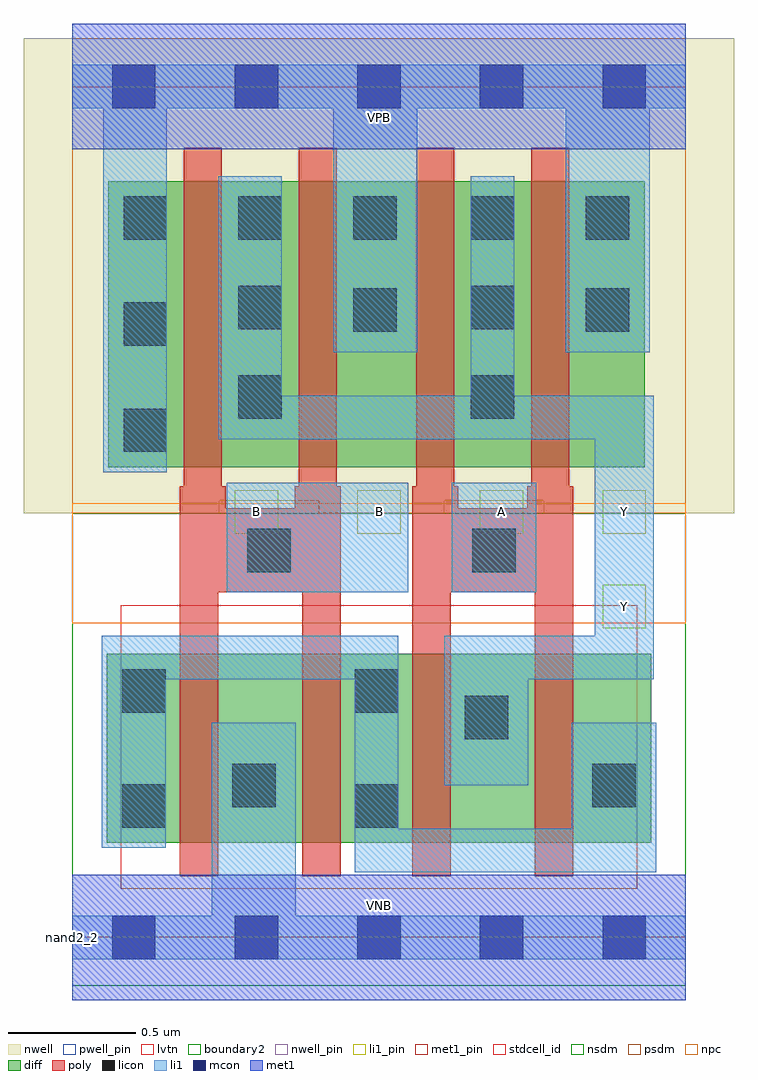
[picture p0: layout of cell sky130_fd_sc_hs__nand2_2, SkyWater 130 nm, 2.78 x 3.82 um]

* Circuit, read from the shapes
.subckt sky130_fd_sc_hs__nand2_2 A B VGND VNB VPB VPWR Y
XM1 VGND B n1 VNB sky130_fd_pr__nfet_01v8_lvt w=0.74 l=0.15 m=2
XM2 Y A n1 VNB sky130_fd_pr__nfet_01v8_lvt w=0.74 l=0.15 m=2
XM3 Y B VPWR VPB sky130_fd_pr__pfet_01v8 w=1.12 l=0.15 m=2
XM4 Y A VPWR VPB sky130_fd_pr__pfet_01v8 w=1.12 l=0.15 m=2
.ends

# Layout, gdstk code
import gdstk
lib = gdstk.Library(unit=1e-6, precision=1e-09)
def R(c, l, rs):  # rectangles x0, y0, x1, y1
    for r in rs: c.add(gdstk.rectangle(r[:2], r[2:], *l))
def A(c, l, x, y, w, h, nx, ny, dx, dy):  # array of equal rectangles
    R(c, l, [(x+i*dx, y+j*dy, x+i*dx+w, y+j*dy+h) for i in range(nx) for j in range(ny)])
def P(c, l, *ps):  # polygons
    for p in ps: c.add(gdstk.Polygon(p, *l))
nwell_pin = (64, 16)
nwell = (64, 20)
diff = (65, 20)
poly = (66, 20)
licon = (66, 44)
li1_pin = (67, 16)
li1 = (67, 20)
mcon = (67, 44)
met1_pin = (68, 16)
met1 = (68, 20)
stdcell_id = (81, 4)
nsdm = (93, 44)
psdm = (94, 20)
npc = (95, 20)
pwell_pin = (122, 16)
lvtn = (125, 44)
boundary2 = (236, 0)

sky130_fd_sc_hs__nand2_2 = lib.new_cell('sky130_fd_sc_hs__nand2_2')
R(sky130_fd_sc_hs__nand2_2, nwell_pin, [(0,3.085,2.4,3.33)])
R(sky130_fd_sc_hs__nand2_2, nwell, [(-0.19,1.66,2.59,3.52)])
R(sky130_fd_sc_hs__nand2_2, diff, [(0.135,0.37,2.265,1.11), (0.14,1.84,2.24,2.96)])
P(sky130_fd_sc_hs__nand2_2, poly, [(1.96,1.765),(1.945,1.765),(1.945,3.09),(1.795,3.09),(1.795,1.765),(1.78,1.765),(1.78,1.68),(1.51,1.68),(1.51,1.765),(1.495,1.765),(1.495,3.09),(1.345,3.09),(1.345,1.765),(1.33,1.765),(1.33,0.24),(1.48,0.24),(1.48,1.35),(1.81,1.35),(1.81,0.24),(1.96,0.24)],
  [(1.05,1.765),(1.035,1.765),(1.035,3.09),(0.885,3.09),(0.885,1.765),(0.87,1.765),(0.87,1.68),(0.6,1.68),(0.6,1.765),(0.585,1.765),(0.585,3.09),(0.435,3.09),(0.435,1.765),(0.42,1.765),(0.42,0.24),(0.57,0.24),(0.57,1.35),(0.9,1.35),(0.9,0.24),(1.05,0.24)])
A(sky130_fd_sc_hs__nand2_2, licon, 1.56, 2.03, 0.17, 0.17, 1, 3, 0, 0.35)
A(sky130_fd_sc_hs__nand2_2, licon, 0.2, 2.73, 0.17, 0.17, 3, 1, 0.45, 0)
R(sky130_fd_sc_hs__nand2_2, licon, [(0.195,0.43,0.365,0.6), (1.105,0.43,1.275,0.6), (0.625,0.51,0.795,0.68), (2.035,0.51,2.205,0.68), (1.535,0.775,1.705,0.945), (0.195,0.88,0.365,1.05), (1.105,0.88,1.275,1.05), (0.685,1.43,0.855,1.6), (1.565,1.43,1.735,1.6), (0.2,1.9,0.37,2.07), (0.65,2.03,0.82,2.2), (0.2,2.315,0.37,2.485), (1.1,2.37,1.27,2.54), (2.01,2.37,2.18,2.54), (0.65,2.38,0.82,2.55), (2.01,2.73,2.18,2.9)])
A(sky130_fd_sc_hs__nand2_2, li1_pin, 0.635, 1.58, 0.17, 0.17, 4, 1, 0.48, 0)
R(sky130_fd_sc_hs__nand2_2, li1_pin, [(2.075,1.21,2.245,1.38)])
R(sky130_fd_sc_hs__nand2_2, li1, [(0.605,1.35,1.315,1.78), (1.485,1.35,1.815,1.78)])
P(sky130_fd_sc_hs__nand2_2, li1, [(0,-0.085),(0,0.085),(0.545,0.085),(0.545,0.84),(0.875,0.84),(0.875,0.085),(2.4,0.085),(2.4,-0.085)],
  [(0,3.245),(0,3.415),(2.4,3.415),(2.4,3.245),(2.26,3.245),(2.26,2.29),(1.93,2.29),(1.93,3.245),(1.35,3.245),(1.35,2.29),(1.02,2.29),(1.02,3.245),(0.37,3.245),(0.37,1.82),(0.12,1.82),(0.12,3.245)],
  [(1.785,1.01),(1.785,0.595),(1.455,0.595),(1.455,1.18),(2.045,1.18),(2.045,1.95),(0.57,1.95),(0.57,2.98),(0.82,2.98),(0.82,2.12),(1.56,2.12),(1.56,2.98),(1.73,2.98),(1.73,2.12),(2.275,2.12),(2.275,1.01)],
  [(1.955,0.425),(1.955,0.84),(2.285,0.84),(2.285,0.255),(1.105,0.255),(1.105,1.01),(0.365,1.01),(0.365,0.35),(0.115,0.35),(0.115,1.18),(1.275,1.18),(1.275,0.425)])
A(sky130_fd_sc_hs__nand2_2, mcon, 0.155, -0.085, 0.17, 0.17, 5, 2, 0.48, 3.33)
R(sky130_fd_sc_hs__nand2_2, met1_pin, [(0,0,2.4,0.245), (0,3.085,2.4,3.33)])
R(sky130_fd_sc_hs__nand2_2, met1, [(0,-0.245,2.4,0.245), (0,3.085,2.4,3.575)])
R(sky130_fd_sc_hs__nand2_2, stdcell_id, [(0,0,2.4,3.33)])
R(sky130_fd_sc_hs__nand2_2, nsdm, [(0,-0.19,2.4,1.66)])
P(sky130_fd_sc_hs__nand2_2, psdm, [(2.4,3.52),(0,3.52),(0,1.66),(0.575,1.66),(0.575,1.71),(0.965,1.71),(0.965,1.66),(1.455,1.66),(1.455,1.71),(1.845,1.71),(1.845,1.66),(2.4,1.66)])
R(sky130_fd_sc_hs__nand2_2, npc, [(0,1.23,2.4,1.7)])
R(sky130_fd_sc_hs__nand2_2, pwell_pin, [(0,0,2.4,0.245)])
R(sky130_fd_sc_hs__nand2_2, lvtn, [(0.19,0.19,2.21,1.3)])
R(sky130_fd_sc_hs__nand2_2, boundary2, [(0,0,2.4,3.33)])
sky130_fd_sc_hs__nand2_2.add(gdstk.Label('nand2_2', (0,0), layer=83, texttype=44))
sky130_fd_sc_hs__nand2_2.add(gdstk.Label('VNB', (1.2,0.123), layer=64, texttype=59))
sky130_fd_sc_hs__nand2_2.add(gdstk.Label('VPB', (1.2,3.208), layer=64, texttype=5))
sky130_fd_sc_hs__nand2_2.add(gdstk.Label('VPWR', (1.2,3.208), layer=68, texttype=5))
sky130_fd_sc_hs__nand2_2.add(gdstk.Label('VGND', (1.2,0.123), layer=68, texttype=5))
sky130_fd_sc_hs__nand2_2.add(gdstk.Label('Y', (2.16,1.295), layer=67, texttype=5))
sky130_fd_sc_hs__nand2_2.add(gdstk.Label('Y', (2.16,1.665), layer=67, texttype=5))
sky130_fd_sc_hs__nand2_2.add(gdstk.Label('B', (0.72,1.665), layer=67, texttype=5))
sky130_fd_sc_hs__nand2_2.add(gdstk.Label('B', (1.2,1.665), layer=67, texttype=5))
sky130_fd_sc_hs__nand2_2.add(gdstk.Label('A', (1.68,1.665), layer=67, texttype=5))

lib.write_gds('sky130_fd_sc_hs__nand2_2.gds')
